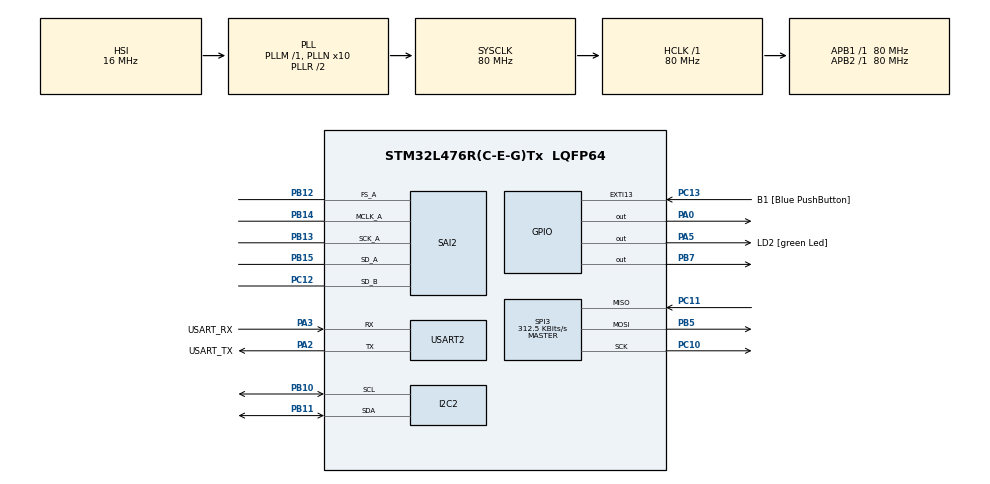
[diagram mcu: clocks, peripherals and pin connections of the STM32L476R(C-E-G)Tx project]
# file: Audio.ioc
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Dma.Request0=SAI2_A
Dma.Request1=SAI2_B
Dma.SAI2_A.0.Direction=DMA_MEMORY_TO_PERIPH
Dma.SAI2_A.0.Instance=DMA1_Channel6
Dma.SAI2_A.0.MemDataAlignment=DMA_MDATAALIGN_WORD
Dma.SAI2_A.0.MemInc=DMA_MINC_ENABLE
Dma.SAI2_A.0.Mode=DMA_CIRCULAR
Dma.SAI2_A.0.PeriphDataAlignment=DMA_PDATAALIGN_WORD
Dma.SAI2_A.0.PeriphInc=DMA_PINC_DISABLE
Dma.SAI2_A.0.Priority=DMA_PRIORITY_LOW
Dma.SAI2_B.1.Direction=DMA_PERIPH_TO_MEMORY
Dma.SAI2_B.1.Instance=DMA1_Channel7
Dma.SAI2_B.1.MemDataAlignment=DMA_MDATAALIGN_WORD
Dma.SAI2_B.1.MemInc=DMA_MINC_ENABLE
Dma.SAI2_B.1.Mode=DMA_CIRCULAR
Dma.SAI2_B.1.PeriphDataAlignment=DMA_PDATAALIGN_WORD
Dma.SAI2_B.1.PeriphInc=DMA_PINC_DISABLE
Dma.SAI2_B.1.Priority=DMA_PRIORITY_LOW
FREERTOS.Tasks01=defaultTask,0,128,StartDefaultTask,Default,NULL,Dynamic,NULL,NULL
FREERTOS.configTOTAL_HEAP_SIZE=10000
I2C2.Timing=0x10D19CE4
Mcu.Family=STM32L4
Mcu.Name=STM32L476R(C-E-G)Tx
Mcu.Package=LQFP64
NVIC.DMA1_Channel6_IRQn=true\:5\:0\:false\:false\:true\:true\:false\:true\:true
NVIC.DMA1_Channel7_IRQn=true\:5\:0\:false\:false\:true\:true\:false\:true\:true
NVIC.PriorityGroup=NVIC_PRIORITYGROUP_4
NVIC.SAI2_IRQn=true\:5\:0\:false\:false\:true\:true\:true\:true\:true
NVIC.SPI3_IRQn=true\:5\:0\:false\:false\:true\:true\:true\:true\:true
NVIC.USART2_IRQn=true\:5\:0\:false\:false\:true\:true\:true\:true\:true
PA0.PinState=GPIO_PIN_SET
PA0.Signal=GPIO_Output
PA13\ (JTMS-SWDIO).GPIO_Label=TMS
PA13\ (JTMS-SWDIO).Mode=Serial_Wire
PA13\ (JTMS-SWDIO).Signal=SYS_JTMS-SWDIO
PA14\ (JTCK-SWCLK).GPIO_Label=TCK
PA14\ (JTCK-SWCLK).Mode=Serial_Wire
PA14\ (JTCK-SWCLK).Signal=SYS_JTCK-SWCLK
PA2.GPIO_Label=USART_TX
PA2.GPIO_Mode=GPIO_MODE_AF_PP
PA2.GPIO_PuPd=GPIO_NOPULL
PA2.GPIO_Speed=GPIO_SPEED_FREQ_VERY_HIGH
PA2.Mode=Asynchronous
PA2.Signal=USART2_TX
PA3.GPIO_Label=USART_RX
PA3.GPIO_Mode=GPIO_MODE_AF_PP
PA3.GPIO_PuPd=GPIO_NOPULL
PA3.GPIO_Speed=GPIO_SPEED_FREQ_VERY_HIGH
PA3.Mode=Asynchronous
PA3.Signal=USART2_RX
PA5.GPIO_Label=LD2 [green Led]
PA5.GPIO_ModeDefaultOutputPP=GPIO_MODE_OUTPUT_PP
PA5.GPIO_PuPd=GPIO_NOPULL
PA5.GPIO_Speed=GPIO_SPEED_FREQ_LOW
PA5.Signal=GPIO_Output
PB10.Mode=I2C
PB10.Signal=I2C2_SCL
PB11.Mode=I2C
PB11.Signal=I2C2_SDA
PB12.Mode=SAI_A_MasterWithClock
PB12.Signal=SAI2_FS_A
PB13.Mode=SAI_A_MasterWithClock
PB13.Signal=SAI2_SCK_A
PB14.Mode=SAI_A_MasterWithClock
PB14.Signal=SAI2_MCLK_A
PB15.Mode=SAI_A_MasterWithClock
PB15.Signal=SAI2_SD_A
PB3\ (JTDO-TRACESWO).GPIO_Label=SWO
PB3\ (JTDO-TRACESWO).Signal=SYS_JTDO-SWO
PB5.Mode=Full_Duplex_Master
PB5.Signal=SPI3_MOSI
PB7.PinState=GPIO_PIN_RESET
PB7.Signal=GPIO_Output
PC10.Mode=Full_Duplex_Master
PC10.Signal=SPI3_SCK
PC11.Mode=Full_Duplex_Master
PC11.Signal=SPI3_MISO
PC12.Mode=SAI_B_SyncSlave
PC12.Signal=SAI2_SD_B
PC13.GPIO_Label=B1 [Blue PushButton]
PC13.GPIO_ModeDefaultEXTI=GPIO_MODE_IT_FALLING
PC13.GPIO_PuPd=GPIO_NOPULL
PC13.Signal=GPXTI13
PC14-OSC32_IN\ (PC14).Mode=LSE-External-Oscillator
PC14-OSC32_IN\ (PC14).Signal=RCC_OSC32_IN
PC15-OSC32_OUT\ (PC15).Mode=LSE-External-Oscillator
PC15-OSC32_OUT\ (PC15).Signal=RCC_OSC32_OUT
PH0-OSC_IN\ (PH0).Signal=RCC_OSC_IN
PH1-OSC_OUT\ (PH1).Signal=RCC_OSC_OUT
ProjectManager.HeapSize=0x200
ProjectManager.StackSize=0x400
ProjectManager.TargetToolchain=STM32CubeIDE
RCC.ADCFreq_Value=104000000
RCC.AHBFreq_Value=80000000
RCC.APB1Freq_Value=80000000
RCC.APB1TimFreq_Value=80000000
RCC.APB2Freq_Value=80000000
RCC.APB2TimFreq_Value=80000000
RCC.CortexFreq_Value=80000000
RCC.HCLKFreq_Value=80000000
RCC.HSE_VALUE=8000000
RCC.HSI_VALUE=16000000
RCC.MSI_VALUE=4000000
RCC.PLLN=10
RCC.PLLSAI1N=13
RCC.PLLSAI1P=RCC_PLLP_DIV17
RCC.PLLSourceVirtual=RCC_PLLSOURCE_HSI
RCC.PREFETCH_ENABLE=1
RCC.SYSCLKFreq_VALUE=80000000
RCC.SYSCLKSource=RCC_SYSCLKSOURCE_PLLCLK
RCC.USBFreq_Value=104000000
RCC.VCOOutputFreq_Value=160000000
SAI2.AudioFrequency-SAI_A_MasterWithClock=SAI_AUDIO_FREQUENCY_48K
SAI2.ErrorAudioFreq-SAI_A_MasterWithClock=-0.42 %
SAI2.InitProtocol-SAI_A_MasterWithClock=Enable
SAI2.InitProtocol-SAI_B_SyncSlave=Enable
SAI2.Instance-SAI_A_MasterWithClock=SAI$Index_Block_A
SAI2.Instance-SAI_B_SyncSlave=SAI$Index_Block_B
SAI2.MClockEnable-SAI_A_MasterWithClock=SAI_MASTERCLOCK_ENABLE
SAI2.RealAudioFreq-SAI_A_MasterWithClock=47.794 KHz
SAI2.VirtualMode-SAI_A_MasterWithClock=VM_MASTER
SAI2.VirtualMode-SAI_B_SyncSlave=VM_SLAVE
SAI2.VirtualProtocol-SAI_A_BASIC=VM_BASIC_PROTOCOL
SAI2.VirtualProtocol-SAI_B_BASIC=VM_BASIC_PROTOCOL
SPI3.BaudRatePrescaler=SPI_BAUDRATEPRESCALER_256
SPI3.CalculateBaudRate=312.5 KBits/s
SPI3.DataSize=SPI_DATASIZE_8BIT
SPI3.Direction=SPI_DIRECTION_2LINES
SPI3.Mode=SPI_MODE_MASTER
SPI3.VirtualType=VM_MASTER
USART2.VirtualMode-Asynchronous=VM_ASYNC
VP_FREERTOS_VS_CMSIS_V1.Mode=CMSIS_V1
VP_SAI2_VP_$IpInstance_SAIA_SAI_BASIC.Mode=SAI_A_BASIC
VP_SAI2_VP_$IpInstance_SAIB_SAI_BASIC.Mode=SAI_B_BASIC
board=NUCLEO-L476RG

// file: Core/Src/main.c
/* USER CODE BEGIN Header */
/**
  ******************************************************************************
  * @file           : main.c
  * @brief          : Main program body
  ******************************************************************************
  * @attention
  *
  * Copyright (c) 2024 STMicroelectronics.
  * All rights reserved.
  *
  * This software is licensed under terms that can be found in the LICENSE file
  * in the root directory of this software component.
  * If no LICENSE file comes with this software, it is provided AS-IS.
  *
  ******************************************************************************
  */
/* USER CODE END Header */
#include "main.h"
#include "cmsis_os.h"
#include "dma.h"
#include "i2c.h"
#include "sai.h"
#include "spi.h"
#include "usart.h"
#include "gpio.h"

/* USER CODE BEGIN Includes */
#include "shell.h"
#include "MCP2317.h"
#include "sgtl5000.h"
/* USER CODE END Includes */

/* USER CODE BEGIN PD */
#define STACK_SIZE 256
/* USER CODE END PD */

void SystemClock_Config(void);
void PeriphCommonClock_Config(void);
void MX_FREERTOS_Init(void);
/* USER CODE BEGIN PFP */

int __io_putchar(int chr){
	HAL_UART_Transmit(&huart2, (uint8_t *)&chr, 1, HAL_MAX_DELAY);
	return chr;
}

/* USER CODE END PFP */

int main(void)
{

  /* USER CODE BEGIN 1 */
	BaseType_t xReturned;
	TaskHandle_t xHandle1 = NULL;

	h_sgtl5000_t h_sgtl5000;
  /* USER CODE END 1 */

  /* MCU Configuration--------------------------------------------------------*/

  /* Reset of all peripherals, Initializes the Flash interface and the Systick. */
  HAL_Init();

  /* Configure the system clock */
  SystemClock_Config();

  /* Configure the peripherals common clocks */
  PeriphCommonClock_Config();

  /* Initialize all configured peripherals */
  MX_GPIO_Init();
  MX_DMA_Init();
  MX_USART2_UART_Init();
  MX_SPI3_Init();
  MX_I2C2_Init();
  MX_SAI2_Init();
  /* USER CODE BEGIN 2 */

  // Initialisation de tout
  MCP17023_init();

  __HAL_SAI_ENABLE(&hsai_BlockA2);

  if (HAL_I2C_Init(&hi2c2) != HAL_OK)
  {
      // Gérer l'erreur d'initialisation I2C
      Error_Handler();
  }

  // Déclaration et configuration de la structure SGTL5000
  h_sgtl5000.hi2c = &hi2c2;
  h_sgtl5000.dev_address = 0x1A << 1; // Adresse I2C du SGTL5000 (shiftée pour STM32)

  // Initialisation du SGTL5000
  HAL_StatusTypeDef status = sgtl5000_init(&h_sgtl5000);
  if (status != HAL_OK)
  {
      // Gérer l'erreur d'initialisation du SGTL5000
      Error_Handler();
  }

  shell_init();

  xReturned = xTaskCreate(
		  shell_run,
		  "shell",
		  STACK_SIZE,
		  (void*) NULL,
		  tskIDLE_PRIORITY,
		  &xHandle1);

  if(xReturned != pdPASS){
	  printf("Le shell fonctionne pas mon reuf. \r\n");
	  Error_Handler();
  }

  vTaskStartScheduler();

  /* USER CODE END 2 */

  /* Call init function for freertos objects (in cmsis_os2.c) */
  MX_FREERTOS_Init();

  /* Start scheduler */
  osKernelStart();

  /* We should never get here as control is now taken by the scheduler */

  /* Infinite loop */
  while (1)
  {

  }
}

void SystemClock_Config(void)
{
  RCC_OscInitTypeDef RCC_OscInitStruct = {0};
  RCC_ClkInitTypeDef RCC_ClkInitStruct = {0};

  /** Configure the main internal regulator output voltage
  */
  if (HAL_PWREx_ControlVoltageScaling(PWR_REGULATOR_VOLTAGE_SCALE1) != HAL_OK)
  {
    Error_Handler();
  }

  /** Initializes the RCC Oscillators according to the specified parameters
  * in the RCC_OscInitTypeDef structure.
  */
  RCC_OscInitStruct.OscillatorType = RCC_OSCILLATORTYPE_HSI;
  RCC_OscInitStruct.HSIState = RCC_HSI_ON;
  RCC_OscInitStruct.HSICalibrationValue = RCC_HSICALIBRATION_DEFAULT;
  RCC_OscInitStruct.PLL.PLLState = RCC_PLL_ON;
  RCC_OscInitStruct.PLL.PLLSource = RCC_PLLSOURCE_HSI;
  RCC_OscInitStruct.PLL.PLLM = 1;
  RCC_OscInitStruct.PLL.PLLN = 10;
  RCC_OscInitStruct.PLL.PLLP = RCC_PLLP_DIV7;
  RCC_OscInitStruct.PLL.PLLQ = RCC_PLLQ_DIV2;
  RCC_OscInitStruct.PLL.PLLR = RCC_PLLR_DIV2;
  if (HAL_RCC_OscConfig(&RCC_OscInitStruct) != HAL_OK)
  {
    Error_Handler();
  }

  /** Initializes the CPU, AHB and APB buses clocks
  */
  RCC_ClkInitStruct.ClockType = RCC_CLOCKTYPE_HCLK|RCC_CLOCKTYPE_SYSCLK
                              |RCC_CLOCKTYPE_PCLK1|RCC_CLOCKTYPE_PCLK2;
  RCC_ClkInitStruct.SYSCLKSource = RCC_SYSCLKSOURCE_PLLCLK;
  RCC_ClkInitStruct.AHBCLKDivider = RCC_SYSCLK_DIV1;
  RCC_ClkInitStruct.APB1CLKDivider = RCC_HCLK_DIV1;
  RCC_ClkInitStruct.APB2CLKDivider = RCC_HCLK_DIV1;

  if (HAL_RCC_ClockConfig(&RCC_ClkInitStruct, FLASH_LATENCY_4) != HAL_OK)
  {
    Error_Handler();
  }
}

void PeriphCommonClock_Config(void)
{
  RCC_PeriphCLKInitTypeDef PeriphClkInit = {0};

  /** Initializes the peripherals clock
  */
  PeriphClkInit.PeriphClockSelection = RCC_PERIPHCLK_SAI2;
  PeriphClkInit.Sai2ClockSelection = RCC_SAI2CLKSOURCE_PLLSAI1;
  PeriphClkInit.PLLSAI1.PLLSAI1Source = RCC_PLLSOURCE_HSI;
  PeriphClkInit.PLLSAI1.PLLSAI1M = 1;
  PeriphClkInit.PLLSAI1.PLLSAI1N = 13;
  PeriphClkInit.PLLSAI1.PLLSAI1P = RCC_PLLP_DIV17;
  PeriphClkInit.PLLSAI1.PLLSAI1Q = RCC_PLLQ_DIV2;
  PeriphClkInit.PLLSAI1.PLLSAI1R = RCC_PLLR_DIV2;
  PeriphClkInit.PLLSAI1.PLLSAI1ClockOut = RCC_PLLSAI1_SAI1CLK;
  if (HAL_RCCEx_PeriphCLKConfig(&PeriphClkInit) != HAL_OK)
  {
    Error_Handler();
  }
}

void Error_Handler(void)
{
  __disable_irq();
  while (1)
  {
  }
}
